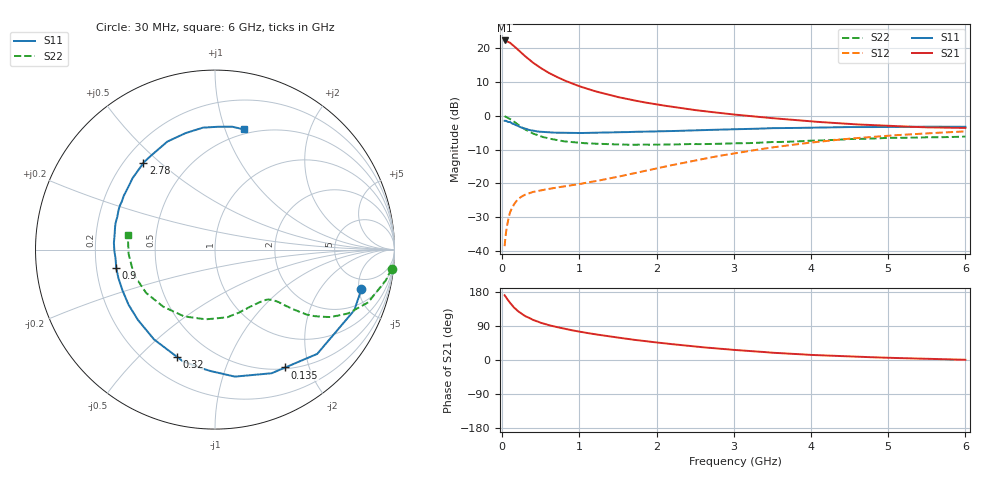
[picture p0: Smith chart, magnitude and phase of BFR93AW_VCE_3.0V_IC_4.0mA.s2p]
! Infineon Technologies  Discrete & RF Semiconductors
! BFR93AW
! VCE =  3.0 V,  IC =  4.0 mA
! Common Emitter S-Parameters:  Nov 2015
# GHz  S  MA  R  50
!  f  S11  S21  S12  S22
! GHz  MAG  ANG  MAG  ANG  MAG  ANG  MAG  ANG
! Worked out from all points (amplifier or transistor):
!   206 points, 30 MHz to 6 GHz, reference 50 ohm
!   highest |S21| = 22.4 dB at 30 MHz (marker M1)
!   |S21| within 3 dB of that: start of sweep to 215.7 MHz
!   unconditionally stable (mu >= 1): 991.2 MHz to 2.359 GHz
!   at 200 MHz: K = 0.26, MSG = 22.2 dB, |S12| = -24.8 dB
!   at 1.56 GHz: K = 1.12, MAG = 9.4 dB, |S12| = -17.7 dB
!   at 6 GHz: K = 0.96, MSG = 0.5 dB, |S12| = -4.6 dB
!   S11 on the Smith chart (normalised r, x): 30 MHz: 3.47, -5.35; 135 MHz: 0.52, -1.64; 320 MHz: 0.33, -0.65; 900 MHz: 0.28, -0.09; 2.78 GHz: 0.28, +0.44; 6 GHz: 0.46, +1.17
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0.03  0.8452 -15.1  13.13 170.9  0.0117 79.1  0.9898 -6.2
0.05  0.8465 -23.5  13.03 164.6  0.0193 77.3  0.967 -10.2
0.1  0.8136 -45.6  12.17 150.8  0.0371 66.7  0.9028 -19.0
0.135  0.7646 -59.2  11.22 142.7  0.045 60.9  0.8456 -23.5
0.15  0.7577 -65.4  10.89 138.8  0.0485 59.0  0.8228 -25.6
0.2  0.7163 -81.1  9.673 129.4  0.0578 52.4  0.7471 -30.2
0.24  0.6775 -91.9  8.748 123.3  0.0624 49.0  0.6924 -32.6
0.3  0.6465 -106.3  7.596 115.4  0.0682 45.2  0.6269 -35.3
0.32  0.6335 -109.6  7.287 113.8  0.0695 44.5  0.6108 -35.7
0.4  0.605 -124.1  6.124 105.6  0.0746 42.1  0.5468 -37.4
0.5  0.5814 -137.6  5.115 98.1  0.0789 41.1  0.495 -38.7
0.6  0.5712 -147.5  4.358 92.1  0.0822 41.5  0.4622 -39.4
0.7  0.5635 -156.1  3.812 87.2  0.0865 42.7  0.439 -40.4
0.9  0.5598 -169.3  3.031 78.6  0.0933 46.0  0.4092 -42.8
1.04  0.5577 -176.6  2.657 73.5  0.0995 48.9  0.396 -45.3
1.5  0.5734 165.2  1.901 59.1  0.1254 57.1  0.3781 -55.4
2.02  0.5903 149.0  1.466 45.8  0.1683 62.5  0.3756 -69.4
2.78  0.6261 129.7  1.119 30.5  0.2517 62.6  0.3851 -91.5
3.1  0.636 122.4  1.022 25.3  0.2893 60.5  0.3926 -101.2
4.1  0.6709 102.5  0.813 12.6  0.4134 49.8  0.4315 -135.5
5.1  0.6852 87.3  0.704 5.3  0.5172 36.3  0.4723 -165.6
6  0.6889 76.3  0.663 0.6  0.5888 24.9  0.4928 170.5
